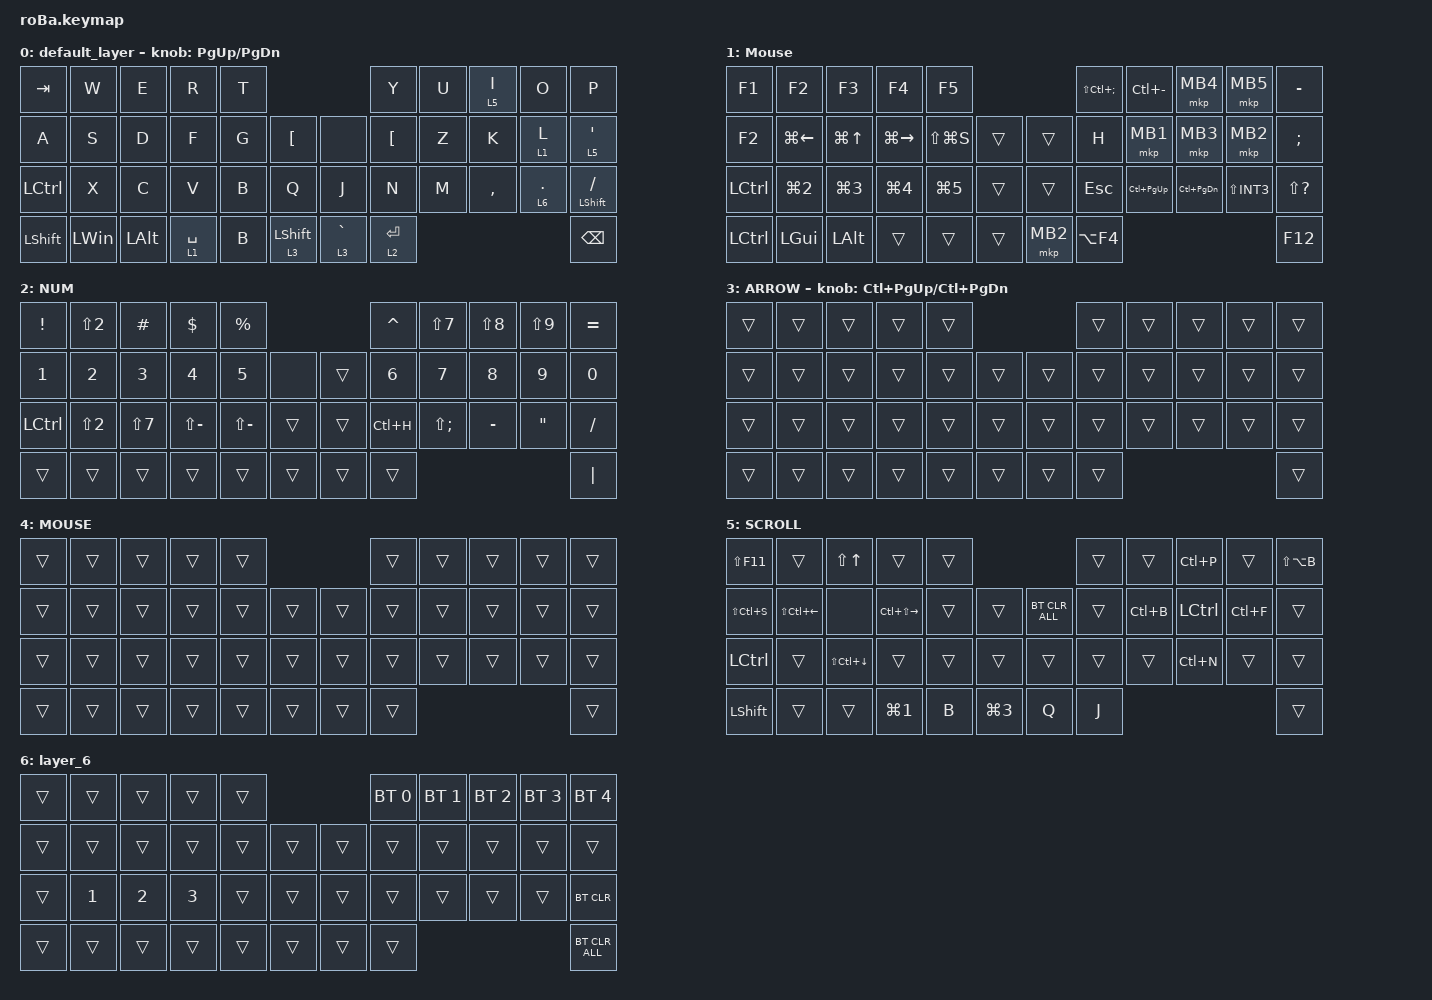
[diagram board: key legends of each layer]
#include <behaviors.dtsi>
#include <dt-bindings/zmk/bt.h>
#include <dt-bindings/zmk/keys.h>
#include <dt-bindings/zmk/pointing.h>

&mt {
    flavor = "balanced";
    quick-tap-ms = <0>;
};

&trackball {
    automouse-layer = <4>;
    scroll-layers = <5>;

    // arrows {
    //     layers = <3>;
    //     bindings =
    //         <&kp RIGHT_ARROW>,
    //         <&kp LEFT_ARROW>,
    //         <&kp UP_ARROW>,
    //         <&kp DOWN_ARROW>;
    //     tick = <10>;
    //     wait-ms = <5>;
    //     tap-ms = <5>;
    // };
};

/ {
    combos {
        compatible = "zmk,combos";

        tab {
            bindings = <&kp TAB>;
            key-positions = <11 12>;
        };

        shift_tab {
            bindings = <&kp LS(TAB)>;
            key-positions = <12 13>;
        };

        muhennkann {
            bindings = <&to_layer_0 INT_MUHENKAN>;
            key-positions = <11 10>;
        };

        double_quotation {
            bindings = <&kp DOUBLE_QUOTES>;
            key-positions = <20 21>;
        };

        eq {
            bindings = <&kp EQUAL>;
            key-positions = <24 25>;
        };
    };

    macros {
        to_layer_0: to_layer_0 {
            compatible = "zmk,behavior-macro-one-param";
            #binding-cells = <1>;
            bindings = <&to 0 &macro_param_1to1 &kp MACRO_PLACEHOLDER>;
            label = "TO_LAYER_0";
        };
    };

    behaviors {
        lt_to_layer_0: lt_to_layer_0 {
            compatible = "zmk,behavior-hold-tap";
            label = "LAYER_TAP_TO_0";
            bindings = <&mo>, <&to_layer_0>;

            #binding-cells = <2>;
            tapping-term-ms = <200>;
        };
    };

    keymap {
        compatible = "zmk,keymap";

        default_layer {
            bindings = <
&kp TAB     &kp W         &kp E         &kp R        &kp T                                     &kp Y             &kp U  &lt 5 I    &kp O         &kp P
&kp A       &kp S         &kp D         &kp F        &kp G  &kp LEFT_BRACKET      &none        &kp LEFT_BRACKET  &kp Z  &kp K      &lt 1 L       &lt 5 SQT
&kp LCTRL   &kp X         &kp C         &kp V        &kp B  &kp Q                 &kp J        &kp N             &kp M  &kp COMMA  &lt 6 PERIOD  &mt LSHIFT SLASH
&kp LSHIFT  &kp LEFT_WIN  &kp LEFT_ALT  &lt 1 SPACE  &kp B  &lt 3 LSHIFT          &lt 3 GRAVE  &lt 2 ENTER                                       &kp BACKSPACE
            >;

            sensor-bindings = <&inc_dec_kp PG_UP PAGE_DOWN>;
        };

        Mouse {
            bindings = <
&kp F1     &kp F2              &kp F3            &kp F4               &kp F5                               &kp LS(LC(SEMICOLON))  &kp LC(MINUS)    &mkp MB4           &mkp MB5      &kp MINUS
&kp F2     &kp LG(LEFT_ARROW)  &kp LG(UP_ARROW)  &kp LG(RIGHT_ARROW)  &kp LS(LG(S))  &trans      &trans    &kp H                  &mkp MB1         &mkp MB3           &mkp MB2      &kp SEMICOLON
&kp LCTRL  &kp LG(NUMBER_2)    &kp LG(NUMBER_3)  &kp LG(NUMBER_4)     &kp LG(N5)     &trans      &trans    &kp ESCAPE             &kp LC(PAGE_UP)  &kp LC(PAGE_DOWN)  &kp LS(INT3)  &kp LS(QUESTION)
&kp LCTRL  &kp LEFT_GUI        &kp LEFT_ALT      &trans               &trans         &trans      &mkp MB2  &kp LA(F4)                                                               &kp F12
            >;
        };

        NUM {
            bindings = <
&kp EXCLAMATION  &kp LS(NUMBER_2)  &kp HASH      &kp DOLLAR     &kp PERCENT                        &kp CARET     &kp LS(N7)         &kp LS(N8)  &kp LS(N9)         &kp EQUAL
&kp NUMBER_1     &kp NUMBER_2      &kp NUMBER_3  &kp NUMBER_4   &kp N5         &none       &trans  &kp NUMBER_6  &kp N7             &kp N8      &kp N9             &kp N0
&kp LCTRL        &kp LS(NUMBER_2)  &kp LS(N7)    &kp LS(MINUS)  &kp LS(MINUS)  &trans      &trans  &kp LC(H)     &kp LS(SEMICOLON)  &kp MINUS   &kp DOUBLE_QUOTES  &kp SLASH
&trans           &trans            &trans        &trans         &trans         &trans      &trans  &trans                                                          &kp PIPE
            >;
        };

        ARROW {
            bindings = <
&trans  &trans  &trans  &trans  &trans                      &trans  &trans  &trans  &trans  &trans
&trans  &trans  &trans  &trans  &trans  &trans      &trans  &trans  &trans  &trans  &trans  &trans
&trans  &trans  &trans  &trans  &trans  &trans      &trans  &trans  &trans  &trans  &trans  &trans
&trans  &trans  &trans  &trans  &trans  &trans      &trans  &trans                          &trans
            >;

            sensor-bindings = <&inc_dec_kp LC(PAGE_UP) LC(PAGE_DOWN)>;
        };

        MOUSE {
            bindings = <
&trans  &trans  &trans  &trans  &trans                      &trans  &trans  &trans  &trans  &trans
&trans  &trans  &trans  &trans  &trans  &trans      &trans  &trans  &trans  &trans  &trans  &trans
&trans  &trans  &trans  &trans  &trans  &trans      &trans  &trans  &trans  &trans  &trans  &trans
&trans  &trans  &trans  &trans  &trans  &trans      &trans  &trans                          &trans
            >;
        };

        SCROLL {
            bindings = <
&kp LS(F11)    &trans                  &kp LS(UP_ARROW)        &trans                   &trans                                        &trans  &trans     &kp LC(P)  &trans     &kp LS(LA(B))
&kp LS(LC(S))  &kp LS(LC(LEFT_ARROW))  &none                   &kp LC(LS(RIGHT_ARROW))  &trans  &trans                &bt BT_CLR_ALL  &trans  &kp LC(B)  &kp LCTRL  &kp LC(F)  &trans
&kp LCTRL      &trans                  &kp LS(LC(DOWN_ARROW))  &trans                   &trans  &trans                &trans          &trans  &trans     &kp LC(N)  &trans     &trans
&kp LSHIFT     &trans                  &trans                  &kp LG(NUMBER_1)         &kp B   &kp LG(NUMBER_3)      &kp Q           &kp J                                    &trans
            >;
        };

        layer_6 {
            bindings = <
&trans  &trans        &trans        &trans        &trans                      &bt BT_SEL 0  &bt BT_SEL 1  &bt BT_SEL 2  &bt BT_SEL 3  &bt BT_SEL 4
&trans  &trans        &trans        &trans        &trans  &trans      &trans  &trans        &trans        &trans        &trans        &trans
&trans  &kp NUMBER_1  &kp NUMBER_2  &kp NUMBER_3  &trans  &trans      &trans  &trans        &trans        &trans        &trans        &bt BT_CLR
&trans  &trans        &trans        &trans        &trans  &trans      &trans  &trans                                                  &bt BT_CLR_ALL
            >;
        };
    };
};
